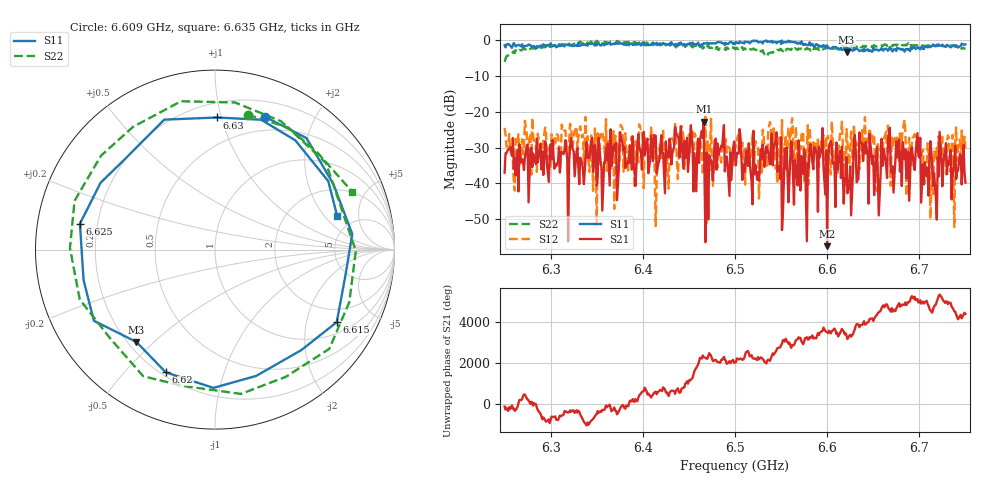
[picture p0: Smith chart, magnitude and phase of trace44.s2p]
# Hz S RI R 50
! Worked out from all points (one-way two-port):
!   401 points, 6.25 GHz to 6.75 GHz, reference 50 ohm
!   highest |S21| = -22.76 dB at 6.466 GHz (marker M1); lowest = -57.6 dB at 6.6 GHz (marker M2)
!   lowest |S11| = -3.4 dB at 6.621 GHz (marker M3), VSWR 5.16, Z = 11.7 - j22 ohm
!   |S11| at or under -10 dB: nowhere
!   |S22| runs from -6.0 to -0.1 dB; largest |S21 - S12| = 0.11
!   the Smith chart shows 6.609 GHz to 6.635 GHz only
!   S11 on the Smith chart (normalised r, x): 6.609 GHz: 0.35, +1.39; 6.615 GHz: 1.41, -3.03; 6.62 GHz: 0.22, -0.65; 6.625 GHz: 0.13, +0.09; 6.63 GHz: 0.30, +0.97; 6.635 GHz: 3.63, +2.75
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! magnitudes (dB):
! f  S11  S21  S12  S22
! 6.25 GHz  -1.4  -37.0  -24.5  -6.0
! 6.259 GHz  -1.3  -27.4  -33.7  -3.4
! 6.334 GHz  -1.3  -34.2  -27.2  -0.8
! 6.348 GHz  -1.5  -29.3  -24.7  -0.7
! 6.418 GHz  -0.9  -33.4  -30.4  -0.9
! 6.466 GHz  -0.8  -22.8  -34.8  -2.1
! 6.47 GHz  -0.7  -34.2  -28.3  -1.6
! 6.5 GHz  -1.1  -30.8  -28.9  -2.4
! 6.542 GHz  -0.4  -29.5  -24.7  -3.2
! 6.55 GHz  -1.0  -27.1  -36.1  -2.5
! 6.584 GHz  -1.0  -34.1  -32.4  -2.1
! 6.6 GHz  -1.5  -57.6  -27.6  -1.8
! 6.609 GHz  -2.0  -46.7  -32.3  -2.2
! 6.615 GHz  -2.1  -38.5  -26.2  -1.9
! 6.62 GHz  -2.7  -38.2  -40.3  -2.2
! 6.621 GHz  -3.4  -32.7  -24.8  -1.8
! 6.625 GHz  -2.3  -35.3  -30.2  -1.8
! 6.63 GHz  -2.7  -26.5  -28.1  -1.4
! 6.635 GHz  -3.0  -25.8  -36.1  -1.6
! 6.668 GHz  -1.9  -24.5  -26.2  -1.4
! 6.715 GHz  -1.3  -40.7  -43.0  -1.2
! 6.75 GHz  -1.2  -39.8  -30.3  -2.4
